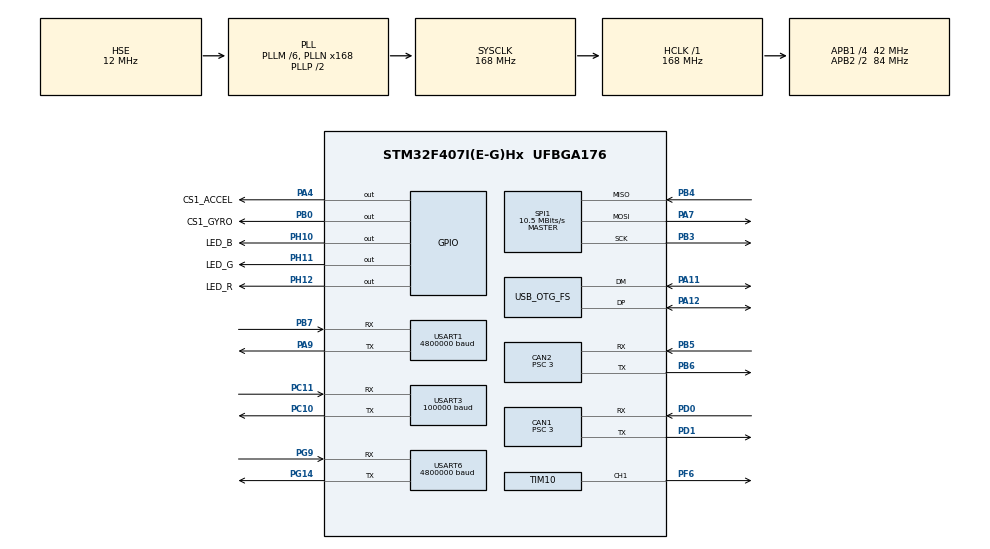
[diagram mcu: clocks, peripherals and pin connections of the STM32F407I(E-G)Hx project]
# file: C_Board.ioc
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CAN1.ABOM=ENABLE
CAN1.BS1=CAN_BS1_10TQ
CAN1.BS2=CAN_BS2_3TQ
CAN1.CalculateBaudRate=1000000
CAN1.CalculateTimeBit=1000
CAN1.CalculateTimeQuantum=71.42857142857143
CAN1.NART=ENABLE
CAN1.Prescaler=3
CAN1.TXFP=DISABLE
CAN2.ABOM=ENABLE
CAN2.BS1=CAN_BS1_10TQ
CAN2.BS2=CAN_BS2_3TQ
CAN2.CalculateBaudRate=1000000
CAN2.CalculateTimeBit=1000
CAN2.CalculateTimeQuantum=71.42857142857143
CAN2.NART=ENABLE
CAN2.Prescaler=3
CAN2.TXFP=DISABLE
Dma.Request0=USART3_RX
Dma.Request1=USART1_RX
Dma.Request2=USART1_TX
Dma.Request3=USART6_RX
Dma.Request4=USART6_TX
Dma.Request5=SPI1_RX
Dma.Request6=SPI1_TX
Dma.SPI1_RX.5.Direction=DMA_PERIPH_TO_MEMORY
Dma.SPI1_RX.5.FIFOMode=DMA_FIFOMODE_DISABLE
Dma.SPI1_RX.5.Instance=DMA2_Stream2
Dma.SPI1_RX.5.MemDataAlignment=DMA_MDATAALIGN_BYTE
Dma.SPI1_RX.5.MemInc=DMA_MINC_ENABLE
Dma.SPI1_RX.5.Mode=DMA_NORMAL
Dma.SPI1_RX.5.PeriphDataAlignment=DMA_PDATAALIGN_BYTE
Dma.SPI1_RX.5.PeriphInc=DMA_PINC_DISABLE
Dma.SPI1_RX.5.Priority=DMA_PRIORITY_VERY_HIGH
Dma.SPI1_TX.6.Direction=DMA_MEMORY_TO_PERIPH
Dma.SPI1_TX.6.FIFOMode=DMA_FIFOMODE_DISABLE
Dma.SPI1_TX.6.Instance=DMA2_Stream3
Dma.SPI1_TX.6.MemDataAlignment=DMA_MDATAALIGN_BYTE
Dma.SPI1_TX.6.MemInc=DMA_MINC_ENABLE
Dma.SPI1_TX.6.Mode=DMA_NORMAL
Dma.SPI1_TX.6.PeriphDataAlignment=DMA_PDATAALIGN_BYTE
Dma.SPI1_TX.6.PeriphInc=DMA_PINC_DISABLE
Dma.SPI1_TX.6.Priority=DMA_PRIORITY_HIGH
Dma.USART1_RX.1.Direction=DMA_PERIPH_TO_MEMORY
Dma.USART1_RX.1.FIFOMode=DMA_FIFOMODE_DISABLE
Dma.USART1_RX.1.Instance=DMA2_Stream5
Dma.USART1_RX.1.MemDataAlignment=DMA_MDATAALIGN_BYTE
Dma.USART1_RX.1.MemInc=DMA_MINC_ENABLE
Dma.USART1_RX.1.Mode=DMA_NORMAL
Dma.USART1_RX.1.PeriphDataAlignment=DMA_PDATAALIGN_BYTE
Dma.USART1_RX.1.PeriphInc=DMA_PINC_DISABLE
Dma.USART1_RX.1.Priority=DMA_PRIORITY_MEDIUM
Dma.USART1_TX.2.Direction=DMA_MEMORY_TO_PERIPH
Dma.USART1_TX.2.FIFOMode=DMA_FIFOMODE_DISABLE
Dma.USART1_TX.2.Instance=DMA2_Stream7
Dma.USART1_TX.2.MemDataAlignment=DMA_MDATAALIGN_BYTE
Dma.USART1_TX.2.MemInc=DMA_MINC_ENABLE
Dma.USART1_TX.2.Mode=DMA_NORMAL
Dma.USART1_TX.2.PeriphDataAlignment=DMA_PDATAALIGN_BYTE
Dma.USART1_TX.2.PeriphInc=DMA_PINC_DISABLE
Dma.USART1_TX.2.Priority=DMA_PRIORITY_MEDIUM
Dma.USART3_RX.0.Direction=DMA_PERIPH_TO_MEMORY
Dma.USART3_RX.0.FIFOMode=DMA_FIFOMODE_DISABLE
Dma.USART3_RX.0.Instance=DMA1_Stream1
Dma.USART3_RX.0.MemDataAlignment=DMA_MDATAALIGN_BYTE
Dma.USART3_RX.0.MemInc=DMA_MINC_ENABLE
Dma.USART3_RX.0.Mode=DMA_NORMAL
Dma.USART3_RX.0.PeriphDataAlignment=DMA_PDATAALIGN_BYTE
Dma.USART3_RX.0.PeriphInc=DMA_PINC_DISABLE
Dma.USART3_RX.0.Priority=DMA_PRIORITY_HIGH
Dma.USART6_RX.3.Direction=DMA_PERIPH_TO_MEMORY
Dma.USART6_RX.3.FIFOMode=DMA_FIFOMODE_DISABLE
Dma.USART6_RX.3.Instance=DMA2_Stream1
Dma.USART6_RX.3.MemDataAlignment=DMA_MDATAALIGN_BYTE
Dma.USART6_RX.3.MemInc=DMA_MINC_ENABLE
Dma.USART6_RX.3.Mode=DMA_NORMAL
Dma.USART6_RX.3.PeriphDataAlignment=DMA_PDATAALIGN_BYTE
Dma.USART6_RX.3.PeriphInc=DMA_PINC_DISABLE
Dma.USART6_RX.3.Priority=DMA_PRIORITY_MEDIUM
Dma.USART6_TX.4.Direction=DMA_MEMORY_TO_PERIPH
Dma.USART6_TX.4.FIFOMode=DMA_FIFOMODE_DISABLE
Dma.USART6_TX.4.Instance=DMA2_Stream6
Dma.USART6_TX.4.MemDataAlignment=DMA_MDATAALIGN_BYTE
Dma.USART6_TX.4.MemInc=DMA_MINC_ENABLE
Dma.USART6_TX.4.Mode=DMA_NORMAL
Dma.USART6_TX.4.PeriphDataAlignment=DMA_PDATAALIGN_BYTE
Dma.USART6_TX.4.PeriphInc=DMA_PINC_DISABLE
Dma.USART6_TX.4.Priority=DMA_PRIORITY_LOW
FREERTOS.INCLUDE_vTaskDelayUntil=1
FREERTOS.Tasks01=defaultTask,0,128,StartDefaultTask,Default,NULL,Dynamic,NULL,NULL;remoteTask,0,128,StartRemoteTask,Default,NULL,Dynamic,NULL,NULL;insTask,1,256,StartINSTask,Default,NULL,Dynamic,NULL,NULL;legCtrlTask,2,512,StartLegCtrlTask,Default,NULL,Dynamic,NULL,NULL;chassisTask,2,1024,StartChassisTask,Default,NULL,Dynamic,NULL,NULL;wheelrCtrlTask,0,512,StartWheelCtrlTask,Default,NULL,Dynamic,NULL,NULL
FREERTOS.configENABLE_FPU=1
FREERTOS.configMAX_PRIORITIES=9
Mcu.Family=STM32F4
Mcu.Name=STM32F407I(E-G)Hx
Mcu.Package=UFBGA176
NVIC.CAN1_RX0_IRQn=true\:5\:0\:false\:false\:true\:true\:true\:true\:true
NVIC.CAN1_RX1_IRQn=true\:5\:0\:false\:false\:true\:true\:true\:true\:true
NVIC.CAN2_RX0_IRQn=true\:5\:0\:false\:false\:true\:true\:true\:true\:true
NVIC.CAN2_RX1_IRQn=true\:5\:0\:false\:false\:true\:true\:true\:true\:true
NVIC.DMA1_Stream1_IRQn=true\:5\:0\:false\:false\:true\:true\:false\:true\:true
NVIC.DMA2_Stream1_IRQn=true\:5\:0\:false\:false\:true\:true\:false\:true\:true
NVIC.DMA2_Stream2_IRQn=true\:5\:0\:false\:false\:true\:true\:false\:true\:true
NVIC.DMA2_Stream3_IRQn=true\:5\:0\:false\:false\:true\:true\:false\:true\:true
NVIC.DMA2_Stream5_IRQn=true\:5\:0\:false\:false\:true\:false\:false\:true\:true
NVIC.DMA2_Stream6_IRQn=true\:5\:0\:false\:false\:true\:true\:false\:true\:true
NVIC.DMA2_Stream7_IRQn=true\:5\:0\:false\:false\:true\:true\:false\:true\:true
NVIC.OTG_FS_IRQn=true\:5\:0\:false\:false\:true\:true\:false\:true\:true
NVIC.PriorityGroup=NVIC_PRIORITYGROUP_4
NVIC.TIM7_IRQn=true\:15\:0\:false\:false\:true\:false\:false\:true\:true
NVIC.TimeBase=TIM7_IRQn
NVIC.TimeBaseIP=TIM7
NVIC.USART1_IRQn=true\:5\:0\:false\:false\:true\:true\:true\:true\:true
NVIC.USART3_IRQn=true\:5\:0\:false\:false\:true\:true\:true\:true\:true
NVIC.USART6_IRQn=true\:5\:0\:false\:false\:true\:true\:true\:true\:true
PA11.Mode=Device_Only
PA11.Signal=USB_OTG_FS_DM
PA12.Mode=Device_Only
PA12.Signal=USB_OTG_FS_DP
PA13.Mode=Serial_Wire
PA13.Signal=SYS_JTMS-SWDIO
PA14.Mode=Serial_Wire
PA14.Signal=SYS_JTCK-SWCLK
PA4.GPIO_Label=CS1_ACCEL
PA4.GPIO_PuPd=GPIO_PULLUP
PA4.GPIO_Speed=GPIO_SPEED_FREQ_HIGH
PA4.PinState=GPIO_PIN_SET
PA4.Signal=GPIO_Output
PA7.GPIO_PuPd=GPIO_PULLUP
PA7.Mode=Full_Duplex_Master
PA7.Signal=SPI1_MOSI
PA9.Mode=Asynchronous
PA9.Signal=USART1_TX
PB0.GPIO_Label=CS1_GYRO
PB0.GPIO_PuPd=GPIO_PULLUP
PB0.GPIO_Speed=GPIO_SPEED_FREQ_HIGH
PB0.PinState=GPIO_PIN_SET
PB0.Signal=GPIO_Output
PB3.GPIO_PuPd=GPIO_PULLUP
PB3.Mode=Full_Duplex_Master
PB3.Signal=SPI1_SCK
PB4.GPIO_PuPd=GPIO_PULLUP
PB4.Mode=Full_Duplex_Master
PB4.Signal=SPI1_MISO
PB5.Mode=CAN_Activate
PB5.Signal=CAN2_RX
PB6.Mode=CAN_Activate
PB6.Signal=CAN2_TX
PB7.Mode=Asynchronous
PB7.Signal=USART1_RX
PC10.Mode=Asynchronous
PC10.Signal=USART3_TX
PC11.GPIO_Speed=GPIO_SPEED_FREQ_MEDIUM
PC11.Mode=Asynchronous
PC11.Signal=USART3_RX
PD0.Mode=CAN_Activate
PD0.Signal=CAN1_RX
PD1.Mode=CAN_Activate
PD1.Signal=CAN1_TX
PF6.GPIO_PuPd=GPIO_PULLUP
PF6.GPIO_Speed=GPIO_SPEED_FREQ_LOW
PF6.Signal=S_TIM10_CH1
PG14.Mode=Asynchronous
PG14.Signal=USART6_TX
PG9.Mode=Asynchronous
PG9.Signal=USART6_RX
PH0-OSC_IN.Mode=HSE-External-Oscillator
PH0-OSC_IN.Signal=RCC_OSC_IN
PH1-OSC_OUT.Mode=HSE-External-Oscillator
PH1-OSC_OUT.Signal=RCC_OSC_OUT
PH10.GPIO_Label=LED_B
PH10.GPIO_PuPd=GPIO_PULLUP
PH10.PinState=GPIO_PIN_RESET
PH10.Signal=GPIO_Output
PH11.GPIO_Label=LED_G
PH11.GPIO_PuPd=GPIO_PULLUP
PH11.PinState=GPIO_PIN_RESET
PH11.Signal=GPIO_Output
PH12.GPIO_Label=LED_R
PH12.GPIO_PuPd=GPIO_PULLUP
PH12.PinState=GPIO_PIN_RESET
PH12.Signal=GPIO_Output
ProjectManager.HeapSize=0x4000
ProjectManager.StackSize=0x4000
ProjectManager.TargetToolchain=Makefile
RCC.48MHZClocksFreq_Value=48000000
RCC.AHBFreq_Value=168000000
RCC.APB1CLKDivider=RCC_HCLK_DIV4
RCC.APB1Freq_Value=42000000
RCC.APB1TimFreq_Value=84000000
RCC.APB2CLKDivider=RCC_HCLK_DIV2
RCC.APB2Freq_Value=84000000
RCC.APB2TimFreq_Value=168000000
RCC.CortexFreq_Value=168000000
RCC.HCLKFreq_Value=168000000
RCC.HSE_VALUE=12000000
RCC.HSI_VALUE=16000000
RCC.LSE_VALUE=32768
RCC.PLLM=6
RCC.PLLN=168
RCC.PLLQ=7
RCC.SYSCLKFreq_VALUE=168000000
RCC.SYSCLKSource=RCC_SYSCLKSOURCE_PLLCLK
RCC.VCOOutputFreq_Value=336000000
SH.S_TIM10_CH1.0=TIM10_CH1,PWM Generation1 CH1
SPI1.BaudRatePrescaler=SPI_BAUDRATEPRESCALER_8
SPI1.CLKPhase=SPI_PHASE_2EDGE
SPI1.CLKPolarity=SPI_POLARITY_HIGH
SPI1.CalculateBaudRate=10.5 MBits/s
SPI1.Direction=SPI_DIRECTION_2LINES
SPI1.Mode=SPI_MODE_MASTER
SPI1.VirtualType=VM_MASTER
STMicroelectronics.X-CUBE-ALGOBUILD.1.3.0.LibraryCcDSPOoLibraryJjDSPOoLibrary=true
TIM10.Channel=TIM_CHANNEL_1
TIM10.Period=1999
TIM10.Prescaler=83
USART1.BaudRate=4800000
USART1.VirtualMode=VM_ASYNC
USART1.WordLength=WORDLENGTH_8B
USART3.BaudRate=100000
USART3.VirtualMode=VM_ASYNC
USART3.WordLength=WORDLENGTH_9B
USART6.BaudRate=4800000
USART6.VirtualMode=VM_ASYNC
USB_DEVICE.CLASS_NAME_FS=CDC
USB_DEVICE.VirtualMode-CDC_FS=Cdc
USB_DEVICE.VirtualModeFS=Cdc_FS
USB_OTG_FS.VirtualMode=Device_Only
VP_CRC_VS_CRC.Mode=CRC_Activate
VP_FREERTOS_VS_CMSIS_V1.Mode=CMSIS_V1
VP_STMicroelectronics.X-CUBE-ALGOBUILD_VS_DSPOoLibraryJjLibrary_1.3.0_1.3.0.Mode=DSPOoLibraryJjLibrary
VP_SYS_VS_tim7.Mode=TIM7
VP_TIM10_VS_ClockSourceINT.Mode=Enable_Timer
VP_USB_DEVICE_VS_USB_DEVICE_CDC_FS.Mode=CDC_FS
board=custom

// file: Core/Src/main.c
/* USER CODE BEGIN Header */
/**
 ******************************************************************************
 * @file           : main.c
 * @brief          : Main program body
 ******************************************************************************
 * @attention
 *
 * Copyright (c) 2023 STMicroelectronics.
 * All rights reserved.
 *
 * This software is licensed under terms that can be found in the LICENSE file
 * in the root directory of this software component.
 * If no LICENSE file comes with this software, it is provided AS-IS.
 *
 ******************************************************************************
 */
/* USER CODE END Header */
#include "main.h"

#include "can.h"
#include "cmsis_os.h"
#include "crc.h"
#include "dma.h"
#include "gpio.h"
#include "spi.h"
#include "tim.h"
#include "usart.h"
#include "usb_device.h"

/* USER CODE BEGIN Includes */
#include "BMI088Driver.h"
#include "Communication.h"
#include "drv_dwt.h"
/* USER CODE END Includes */

void SystemClock_Config(void);
void MX_FREERTOS_Init(void);

int main(void)
{

    /* MCU Configuration--------------------------------------------------------*/

    /* Reset of all peripherals, Initializes the Flash interface and the Systick. */
    HAL_Init();

    /* Configure the system clock */
    SystemClock_Config();

    /* Initialize all configured peripherals */
    MX_GPIO_Init();
    MX_DMA_Init();
    MX_USART3_UART_Init();
    MX_CAN1_Init();
    MX_CAN2_Init();
    MX_USART1_UART_Init();
    MX_USART6_UART_Init();
    MX_CRC_Init();
    MX_SPI1_Init();
    MX_TIM10_Init();
    /* USER CODE BEGIN 2 */
    UserSystemCommInit();
    DWT_Init(168);
    HAL_TIM_Base_Start(&htim10);
    HAL_TIM_PWM_Start(&htim10, TIM_CHANNEL_1);
    while (BMI088_init(&hspi1, 1) != BMI088_NO_ERROR)
        ;
    /* USER CODE END 2 */

    /* Call init function for freertos objects (in freertos.c) */
    MX_FREERTOS_Init();

    /* Start scheduler */
    osKernelStart();

    /* We should never get here as control is now taken by the scheduler */
    /* Infinite loop */
    while (1) {

    }
}

void SystemClock_Config(void)
{
    RCC_OscInitTypeDef RCC_OscInitStruct = {0};
    RCC_ClkInitTypeDef RCC_ClkInitStruct = {0};

    /** Configure the main internal regulator output voltage
     */
    __HAL_RCC_PWR_CLK_ENABLE();
    __HAL_PWR_VOLTAGESCALING_CONFIG(PWR_REGULATOR_VOLTAGE_SCALE1);

    /** Initializes the RCC Oscillators according to the specified parameters
     * in the RCC_OscInitTypeDef structure.
     */
    RCC_OscInitStruct.OscillatorType = RCC_OSCILLATORTYPE_HSE;
    RCC_OscInitStruct.HSEState = RCC_HSE_ON;
    RCC_OscInitStruct.PLL.PLLState = RCC_PLL_ON;
    RCC_OscInitStruct.PLL.PLLSource = RCC_PLLSOURCE_HSE;
    RCC_OscInitStruct.PLL.PLLM = 6;
    RCC_OscInitStruct.PLL.PLLN = 168;
    RCC_OscInitStruct.PLL.PLLP = RCC_PLLP_DIV2;
    RCC_OscInitStruct.PLL.PLLQ = 7;
    if (HAL_RCC_OscConfig(&RCC_OscInitStruct) != HAL_OK) {
        Error_Handler();
    }

    /** Initializes the CPU, AHB and APB buses clocks
     */
    RCC_ClkInitStruct.ClockType = RCC_CLOCKTYPE_HCLK | RCC_CLOCKTYPE_SYSCLK | RCC_CLOCKTYPE_PCLK1 | RCC_CLOCKTYPE_PCLK2;
    RCC_ClkInitStruct.SYSCLKSource = RCC_SYSCLKSOURCE_PLLCLK;
    RCC_ClkInitStruct.AHBCLKDivider = RCC_SYSCLK_DIV1;
    RCC_ClkInitStruct.APB1CLKDivider = RCC_HCLK_DIV4;
    RCC_ClkInitStruct.APB2CLKDivider = RCC_HCLK_DIV2;

    if (HAL_RCC_ClockConfig(&RCC_ClkInitStruct, FLASH_LATENCY_5) != HAL_OK) {
        Error_Handler();
    }
}

void HAL_TIM_PeriodElapsedCallback(TIM_HandleTypeDef *htim)
{
    if (htim->Instance == TIM7) {
        HAL_IncTick();
    }
}

void Error_Handler(void)
{
    __disable_irq();
    while (1) {
    }
}

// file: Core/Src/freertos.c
/* USER CODE BEGIN Header */
/**
 ******************************************************************************
 * File Name          : freertos.c
 * Description        : Code for freertos applications
 ******************************************************************************
 * @attention
 *
 * Copyright (c) 2023 STMicroelectronics.
 * All rights reserved.
 *
 * This software is licensed under terms that can be found in the LICENSE file
 * in the root directory of this software component.
 * If no LICENSE file comes with this software, it is provided AS-IS.
 *
 ******************************************************************************
 */
/* USER CODE END Header */

#include "FreeRTOS.h"

#include "cmsis_os.h"
#include "main.h"
#include "task.h"

/* USER CODE BEGIN Includes */
#include "Communication.h"
#include "INS.h"
/* USER CODE END Includes */

/* USER CODE BEGIN Variables */
osThreadId gimbalTaskHandle;
osThreadId visionReciveTaskHandle;
osThreadId visionTransmitTaskHandle;
osThreadId refereeTaskHandle;

/* USER CODE END Variables */
osThreadId defaultTaskHandle;
osThreadId remoteTaskHandle;
osThreadId insTaskHandle;
osThreadId legCtrlTaskHandle;
osThreadId chassisTaskHandle;
osThreadId wheelrCtrlTaskHandle;

/* USER CODE BEGIN FunctionPrototypes */
void StartGimbalTask(void const *argument);
void StartRefereeTask(void const *argument);
void StartVisionReciveTask(void const *argument);
void StartVisionTransmitTask(void const *argument);
/* USER CODE END FunctionPrototypes */

void StartDefaultTask(void const *argument);
void StartRemoteTask(void const *argument);
void StartINSTask(void const *argument);
void StartLegCtrlTask(void const *argument);
void StartChassisTask(void const *argument);
void StartWheelCtrlTask(void const *argument);

extern void MX_USB_DEVICE_Init(void);
void MX_FREERTOS_Init(void); /* (MISRA C 2004 rule 8.1) */

/* GetIdleTaskMemory prototype (linked to static allocation support) */
void vApplicationGetIdleTaskMemory(StaticTask_t **ppxIdleTaskTCBBuffer, StackType_t **ppxIdleTaskStackBuffer, uint32_t *pulIdleTaskStackSize);

/* USER CODE BEGIN GET_IDLE_TASK_MEMORY */
static StaticTask_t xIdleTaskTCBBuffer;
static StackType_t xIdleStack[configMINIMAL_STACK_SIZE];

void vApplicationGetIdleTaskMemory(StaticTask_t **ppxIdleTaskTCBBuffer, StackType_t **ppxIdleTaskStackBuffer, uint32_t *pulIdleTaskStackSize)
{
    *ppxIdleTaskTCBBuffer = &xIdleTaskTCBBuffer;
    *ppxIdleTaskStackBuffer = &xIdleStack[0];
    *pulIdleTaskStackSize = configMINIMAL_STACK_SIZE;
    /* place for user code */
}
/* USER CODE END GET_IDLE_TASK_MEMORY */

void MX_FREERTOS_Init(void)
{

    /* Create the thread(s) */
    /* definition and creation of defaultTask */
    osThreadDef(defaultTask, StartDefaultTask, osPriorityNormal, 0, 128);
    defaultTaskHandle = osThreadCreate(osThread(defaultTask), NULL);

    /* definition and creation of remoteTask */
    osThreadDef(remoteTask, StartRemoteTask, osPriorityNormal, 0, 128);
    remoteTaskHandle = osThreadCreate(osThread(remoteTask), NULL);

    /* definition and creation of insTask */
    osThreadDef(insTask, StartINSTask, osPriorityAboveNormal, 0, 256);
    insTaskHandle = osThreadCreate(osThread(insTask), NULL);

    /* definition and creation of legCtrlTask */
    osThreadDef(legCtrlTask, StartLegCtrlTask, osPriorityHigh, 0, 128);
    legCtrlTaskHandle = osThreadCreate(osThread(legCtrlTask), NULL);

    /* definition and creation of chassisTask */
    osThreadDef(chassisTask, StartChassisTask, osPriorityHigh, 0, 128);
    chassisTaskHandle = osThreadCreate(osThread(chassisTask), NULL);

    /* definition and creation of wheelrCtrlTask */
    osThreadDef(wheelrCtrlTask, StartWheelCtrlTask, osPriorityNormal, 0, 128);
    wheelrCtrlTaskHandle = osThreadCreate(osThread(wheelrCtrlTask), NULL);

    /* USER CODE BEGIN RTOS_THREADS */
    /* add threads, ... */
    osThreadDef(gimbalTask, StartGimbalTask, osPriorityHigh, 0, 512);
    gimbalTaskHandle = osThreadCreate(osThread(gimbalTask), NULL);

    osThreadDef(refereeTask, StartRefereeTask, osPriorityNormal, 0, 256);
    refereeTaskHandle = osThreadCreate(osThread(refereeTask), NULL);

    osThreadDef(visionReciveTask, StartVisionReciveTask, osPriorityNormal, 0, 128);
    visionReciveTaskHandle = osThreadCreate(osThread(visionReciveTask), NULL);

    osThreadDef(visionTransmitTask, StartVisionTransmitTask, osPriorityNormal, 0, 128);
    visionTransmitTaskHandle = osThreadCreate(osThread(visionTransmitTask), NULL);
    /* USER CODE END RTOS_THREADS */
}

void StartDefaultTask(void const *argument)
{
    /* init code for USB_DEVICE */
    MX_USB_DEVICE_Init();
    /* USER CODE BEGIN StartDefaultTask */
    /* Infinite loop */
    for (;;) {
        HAL_GPIO_TogglePin(LED_R_GPIO_Port, LED_R_Pin);
        osDelay(500);
        HAL_GPIO_TogglePin(LED_R_GPIO_Port, LED_R_Pin);
        HAL_GPIO_TogglePin(LED_G_GPIO_Port, LED_G_Pin);
        osDelay(500);
        HAL_GPIO_TogglePin(LED_G_GPIO_Port, LED_G_Pin);
        HAL_GPIO_TogglePin(LED_B_GPIO_Port, LED_B_Pin);
        osDelay(500);
        HAL_GPIO_TogglePin(LED_B_GPIO_Port, LED_B_Pin);
        osDelay(1);
    }
    /* USER CODE END StartDefaultTask */
}

void StartRemoteTask(void const *argument)
{
    /* USER CODE BEGIN StartRemoteTask */
    /* Infinite loop */
    for (;;) {
        RemoteTask();
        osDelay(1);
    }
    /* USER CODE END StartRemoteTask */
}

void StartINSTask(void const *argument)
{
    /* USER CODE BEGIN StartINSTask */
    INS_Init();
    /* Infinite loop */
    for (;;) {
        INS_Task();
        osDelay(1);
    }
    /* USER CODE END StartINSTask */
}

void StartLegCtrlTask(void const *argument)
{
    for (;;) {
        osDelay(1);
    }
}

void StartChassisTask(void const *argument)
{
    for (;;) {
        osDelay(1);
    }
}

void StartWheelCtrlTask(void const *argument)
{
    for (;;) {
        osDelay(1);
    }
}

/* USER CODE BEGIN Application */
void StartGimbalTask(void const *argument)
{
    /* Infinite loop */
    for (;;) {
        GimbalTask();
        osDelay(1);
    }
}

void StartRefereeTask(void const *argument)
{
    /* Infinite loop */
    for (;;) {
        RefereeTask();
        osDelay(1);
    }
}

void StartVisionReciveTask(void const *argument)
{
    /* Infinite loop */
    for (;;) {
        VisionReciveTask();
        osDelay(1);
    }
}

void StartVisionTransmitTask(void const *argument)
{
    /* Infinite loop */
    for (;;) {
        VisionTransmitTask();
        osDelay(1);
    }
}

/* USER CODE END Application */
